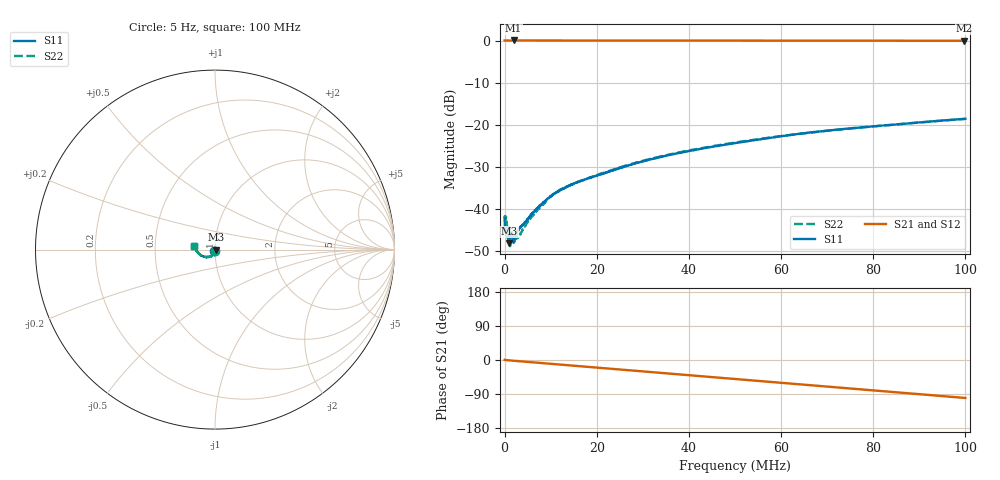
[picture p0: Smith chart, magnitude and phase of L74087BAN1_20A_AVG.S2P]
!Agilent Technologies,E5061B,MY49102235,A.02.00
!Date: Tue Jul 11 14:39:01 2023
!Data & Calibration Information:
!Freq	S11:SOLT2(ON)	S21:SOLT2(ON)	S12:SOLT2(ON)	S22:SOLT2(ON)
# Hz S RI R 50
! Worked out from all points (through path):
!   1600 points, 5 Hz to 100 MHz, reference 50 ohm
!   highest |S21| = 0.02 dB at 1.939 MHz (marker M1); lowest = -0.1 dB at 99.75 MHz (marker M2)
!   group delay of S21, straight-line fit = 2.78 ns
!   lowest |S11| = -48.1 dB at 1.001 MHz (marker M3), VSWR 1.01, Z = 50.4 - j0.0796 ohm
!   |S11| at or under -10 dB: start of sweep to end of sweep
!   |S22| runs from -48.9 to -18.6 dB; largest |S21 - S12| = 0.0029
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5  -0.00533 -0.00563  1.002 0.00778  1 0.0103  -0.00147 -0.00755
187622.3  0.00542 -0.000336  1.001 -0.00243  1.001 -0.000907  0.00736 -0.00239
562856.8  0.00588 -0.000805  1.001 -0.00947  1.001 -0.00903  0.006 -0.0016
1000630  0.00384 -0.00079  1.001 -0.0167  1.001 -0.016  0.00518 -0.00172
1563482  0.0044 -0.00293  1.001 -0.0264  1.001 -0.0253  0.00317 -0.00352
1938717  0.00317 -0.00236  1.002 -0.0337  1.001 -0.0329  0.00343 -0.00211
2376490  0.00335 -0.00304  1 -0.0415  1 -0.0414  0.00396 -0.00272
3252037  0.00428 -0.00425  0.9996 -0.0569  0.9992 -0.0564  0.00316 -0.00375
4690436  0.00375 -0.00606  0.9979 -0.082  0.9974 -0.0817  0.00345 -0.00572
6003757  0.00333 -0.008  0.9956 -0.1049  0.9955 -0.1043  0.00287 -0.00781
9505946  0.00141 -0.0133  0.9873 -0.1659  0.9873 -0.1653  0.000824 -0.0132
1.156974e7  -0.000105 -0.0162  0.9809 -0.2013  0.9804 -0.2007  -0.000978 -0.0163
1.669794e7  -0.00408 -0.0213  0.9582 -0.2883  0.958 -0.2877  -0.00441 -0.0213
2.582865e7  -0.0115 -0.0293  0.9003 -0.437  0.9 -0.4365  -0.00947 -0.0306
3.333334e7  -0.0204 -0.0354  0.8348 -0.551  0.8347 -0.5503  -0.0193 -0.0365
5.003127e7  -0.0445 -0.0409  0.6402 -0.7675  0.6401 -0.7668  -0.0449 -0.0418
6.672921e7  -0.074 -0.0344  0.3912 -0.9178  0.3917 -0.9175  -0.0733 -0.0345
7.53596e7  -0.0876 -0.0247  0.2487 -0.9653  0.2491 -0.9649  -0.0869 -0.0255
8.33646e7  -0.0984 -0.0121  0.1117 -0.9899  0.112 -0.9897  -0.098 -0.014
9.155722e7  -0.1082 0.00318  -0.0308 -0.9946  -0.0305 -0.9944  -0.1082 7.78e-05
9.974984e7  -0.1158 0.0201  -0.1723 -0.9788  -0.1717 -0.9788  -0.1156 0.0175
1e8  -0.1159 0.0206  -0.1765 -0.9782  -0.1761 -0.9781  -0.116 0.0181
